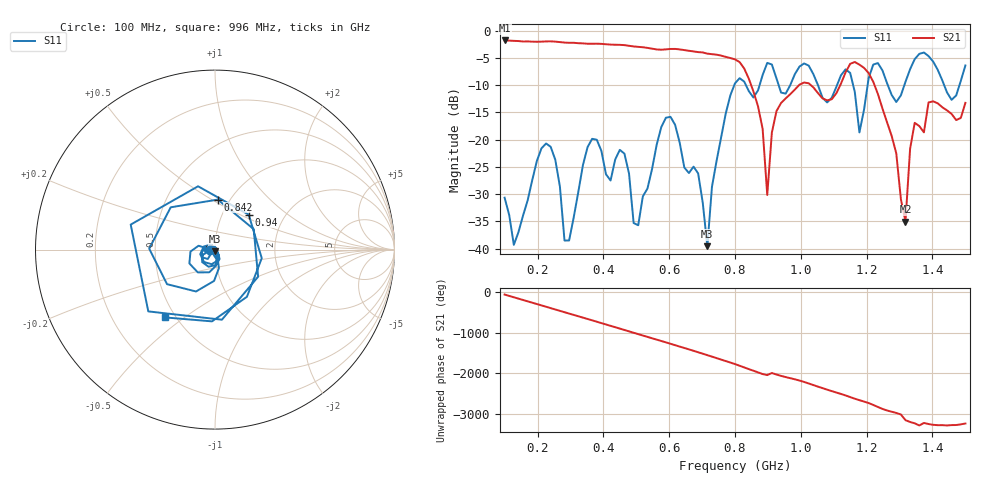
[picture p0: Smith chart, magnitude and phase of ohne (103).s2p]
! NanoVNA-App
! Date: 2025-09-26 09:56:12
! Start: 100MHz Stop: 1,5GHz Points: 101
! S-Parameter data: F S11 S21 S12 S22
# Hz S RI R 50
!  Frequency  S11_Real  S11_Imag  S21_Real  S21_Imag  S12_Real  S12_Imag  S22_Real  S22_Imag
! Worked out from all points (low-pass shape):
!   101 points, 100 MHz to 1.5 GHz, reference 50 ohm
!   highest |S21| = -1.79 dB at 100 MHz (marker M1); lowest = -35.0 dB at 1.318 GHz (marker M2)
!   |S21| within 3 dB of the highest: start of sweep to 771.3 MHz
!   lowest |S11| = -39.5 dB at 716 MHz (marker M3), VSWR 1.02, Z = 49.9 - j1.05 ohm
!   |S11| at or under -10 dB: start of sweep to 797.7 MHz; 833.3 MHz to 874.7 MHz (41.39 MHz wide, 4.85 % of centre); 1.052 GHz to 1.11 GHz (57.8 MHz wide, 5.35 % of centre)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
!   S12 and S22 are empty: the file has one direction only
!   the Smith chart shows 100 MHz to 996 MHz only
!   S11 on the Smith chart (normalised r, x): 100 MHz: 0.94, -0.01; 842 MHz: 0.88, +0.53; 940 MHz: 1.33, +0.56; 996 MHz: 0.44, -0.43
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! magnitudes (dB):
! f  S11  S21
! 100 MHz  -30.6  -1.8
! 128 MHz  -39.3  -1.9
! 226 MHz  -20.7  -2.0
! 296 MHz  -38.5  -2.2
! 338 MHz  -24.7  -2.3
! 464 MHz  -22.6  -2.6
! 506 MHz  -35.7  -3.0
! 576 MHz  -17.7  -3.5
! 688 MHz  -26.2  -3.9
! 716 MHz  -39.5  -4.2
! 800 MHz  -9.6  -5.3
! 842 MHz  -11.1  -8.8
! 898 MHz  -5.9  -30.1
! 940 MHz  -11.4  -13.3
! 996 MHz  -6.6  -9.9
! 1.038 GHz  -8.0  -10.4
! 1.178 GHz  -18.7  -6.2
! 1.22 GHz  -6.2  -9.4
! 1.276 GHz  -11.8  -19.3
! 1.318 GHz  -9.4  -35.0
! 1.346 GHz  -5.2  -16.9
! 1.5 GHz  -6.4  -13.2
